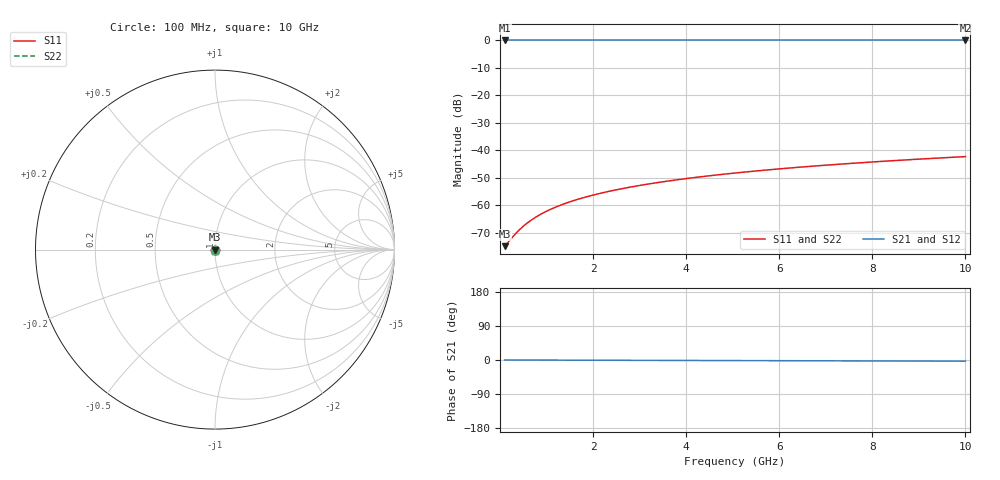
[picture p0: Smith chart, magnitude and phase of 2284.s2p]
# Hz S RI R 50.00
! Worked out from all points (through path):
!   100 points, 100 MHz to 10 GHz, reference 50 ohm
!   highest |S21| = 0.00 dB at 100 MHz (marker M1); lowest = 0.0 dB at 10 GHz (marker M2)
!   lowest |S11| = -74.9 dB at 100 MHz (marker M3), VSWR 1.00, Z = 50 - j0.00763 ohm
!   |S11| at or under -10 dB: start of sweep to end of sweep
!   |S22| runs from -74.9 to -42.3 dB; largest |S21 - S12| = 1e-15
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1e8  0.000164 -7.63e-05  0.9998 -0.000537  0.9998 -0.000537  0.000164 -7.63e-05
3e8  0.000165 -0.000229  0.9998 -0.00161  0.9998 -0.00161  0.000165 -0.000229
4e8  0.000165 -0.000305  0.9998 -0.00215  0.9998 -0.00215  0.000165 -0.000305
5e8  0.000165 -0.000382  0.9998 -0.00268  0.9998 -0.00268  0.000165 -0.000382
6e8  0.000165 -0.000458  0.9998 -0.00322  0.9998 -0.00322  0.000165 -0.000458
7e8  0.000164 -0.000534  0.9998 -0.00376  0.9998 -0.00376  0.000164 -0.000534
8e8  0.000164 -0.000611  0.9998 -0.00429  0.9998 -0.00429  0.000164 -0.000611
1e9  0.000162 -0.000763  0.9998 -0.00537  0.9998 -0.00537  0.000162 -0.000763
1.2e9  0.000161 -0.000916  0.9998 -0.00644  0.9998 -0.00644  0.000161 -0.000916
1.5e9  0.000158 -0.00115  0.9998 -0.00805  0.9998 -0.00805  0.000158 -0.00115
1.8e9  0.000153 -0.00137  0.9998 -0.00966  0.9998 -0.00966  0.000153 -0.00137
2.1e9  0.000149 -0.0016  0.9998 -0.0113  0.9998 -0.0113  0.000149 -0.0016
2.5e9  0.000141 -0.00191  0.9997 -0.0134  0.9997 -0.0134  0.000141 -0.00191
2.9e9  0.000132 -0.00222  0.9997 -0.0156  0.9997 -0.0156  0.000132 -0.00222
3.4e9  0.000119 -0.0026  0.9996 -0.0183  0.9996 -0.0183  0.000119 -0.0026
4.2e9  9.29e-05 -0.00322  0.9995 -0.0226  0.9995 -0.0226  9.29e-05 -0.00322
5.1e9  5.76e-05 -0.00391  0.9994 -0.0274  0.9994 -0.0274  5.76e-05 -0.00391
5.9e9  2.06e-05 -0.00452  0.9993 -0.0317  0.9993 -0.0317  2.06e-05 -0.00452
6.7e9  -2.19e-05 -0.00514  0.9991 -0.036  0.9991 -0.036  -2.19e-05 -0.00514
7.5e9  -6.97e-05 -0.00576  0.999 -0.0404  0.999 -0.0404  -6.97e-05 -0.00576
8.4e9  -0.00013 -0.00646  0.9987 -0.0452  0.9987 -0.0452  -0.00013 -0.00646
1e10  -0.000254 -0.00769  0.9983 -0.0539  0.9983 -0.0539  -0.000254 -0.00769
